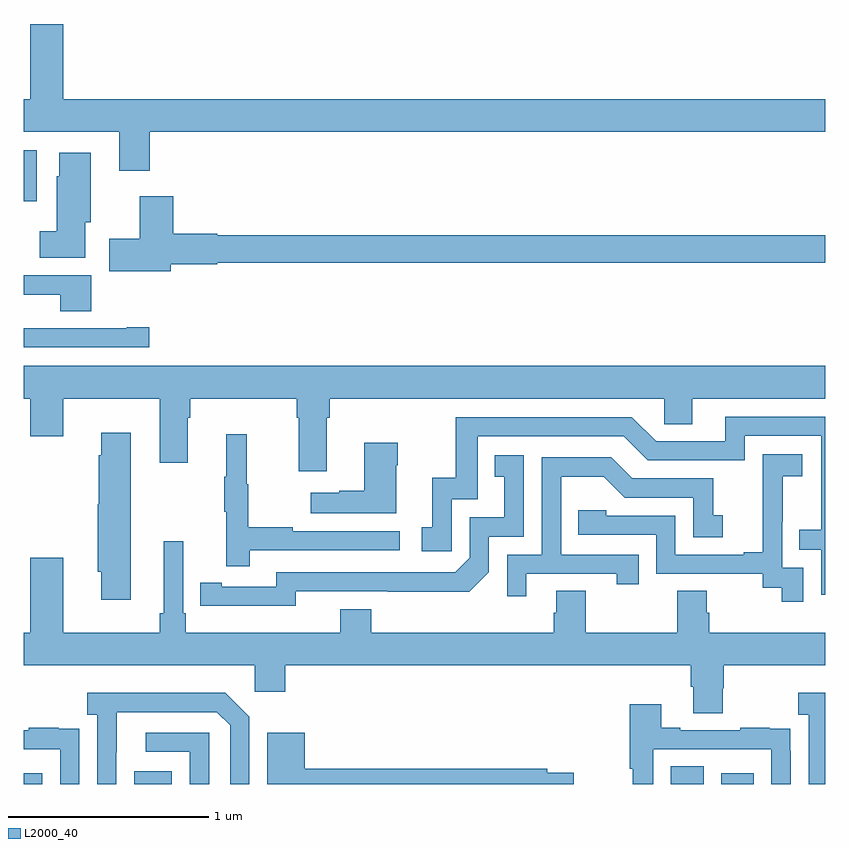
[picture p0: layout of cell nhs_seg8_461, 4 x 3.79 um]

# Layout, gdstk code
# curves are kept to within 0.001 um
import gdstk
lib = gdstk.Library(unit=1e-6, precision=1e-09)
def R(c, l, rs):  # rectangles x0, y0, x1, y1
    for r in rs: c.add(gdstk.rectangle(r[:2], r[2:], *l))
def P(c, l, *ps):  # polygons
    for p in ps: c.add(gdstk.Polygon(p, *l))
L2000_40 = (2000, 40)

nhs_seg8_461 = lib.new_cell('nhs_seg8_461')
R(nhs_seg8_461, L2000_40, [(141,1123.9,141.091,1123.954), (141.551,1123.9,141.739,1123.963), (144.23,1123.9,144.394,1123.988), (144.482,1123.9,144.643,1123.954), (141,1126.811,141.064,1127.065)])
P(nhs_seg8_461, L2000_40, [(141.629,1127.156),(145,1127.156),(145,1127.32),(141.196,1127.32),(141.196,1127.695),(141.032,1127.695),(141.032,1127.32),(141,1127.32),(141,1127.156),(141.476,1127.156),(141.476,1126.962),(141.629,1126.962)],
  [(141.307,1126.704),(141.334,1126.704),(141.334,1127.053),(141.176,1127.053),(141.176,1126.935),(141.164,1126.935),(141.164,1126.66),(141.08,1126.66),(141.08,1126.529),(141.307,1126.529)],
  [(141.733,1126.496),(141.966,1126.496),(141.966,1126.504),(145,1126.504),(145,1126.64),(141.966,1126.64),(141.966,1126.648),(141.746,1126.648),(141.746,1126.834),(141.578,1126.834),(141.578,1126.623),(141.426,1126.623),(141.426,1126.46),(141.733,1126.46)],
  [(141.335,1126.44),(141,1126.44),(141,1126.344),(141.182,1126.344),(141.182,1126.261),(141.335,1126.261)],
  [(141.625,1126.181),(141.512,1126.181),(141.512,1126.176),(141,1126.176),(141,1126.08),(141.625,1126.08)],
  [(142.513,1125.728),(142.526,1125.728),(142.526,1125.824),(144.198,1125.824),(144.198,1125.697),(144.337,1125.697),(144.337,1125.824),(145,1125.824),(145,1125.988),(141,1125.988),(141,1125.824),(141.032,1125.824),(141.032,1125.636),(141.196,1125.636),(141.196,1125.824),(141.677,1125.824),(141.677,1125.504),(141.817,1125.504),(141.817,1125.728),(141.83,1125.728),(141.83,1125.824),(142.361,1125.824),(142.361,1125.728),(142.373,1125.728),(142.373,1125.462),(142.513,1125.462)],
  [(145,1125.735),(144.503,1125.735),(144.503,1125.612),(144.156,1125.612),(144.036,1125.732),(143.157,1125.732),(143.157,1125.43),(143.039,1125.43),(143.039,1125.183),(142.986,1125.183),(142.986,1125.063),(143.136,1125.063),(143.136,1125.321),(143.265,1125.321),(143.265,1125.636),(143.994,1125.636),(144.114,1125.516),(144.6,1125.516),(144.6,1125.639),(144.981,1125.639),(144.981,1125.17),(144.871,1125.17),(144.871,1125.069),(144.981,1125.069),(144.981,1124.844),(145,1124.844)],
  [(141.532,1125.655),(141.386,1125.655),(141.386,1125.542),(141.374,1125.542),(141.374,1125.297),(141.368,1125.297),(141.368,1124.961),(141.386,1124.961),(141.386,1124.82),(141.532,1124.82)],
  [(142.127,1125.066),(142.876,1125.066),(142.876,1125.162),(142.343,1125.162),(142.343,1125.182),(142.12,1125.182),(142.12,1125.396),(142.112,1125.396),(142.112,1125.646),(142.01,1125.646),(142.01,1125.433),(141.999,1125.433),(141.999,1125.259),(142.01,1125.259),(142.01,1124.988),(142.127,1124.988)],
  [(142.858,1125.491),(142.866,1125.491),(142.866,1125.604),(142.7,1125.604),(142.7,1125.365),(142.574,1125.365),(142.574,1125.355),(142.431,1125.355),(142.431,1125.251),(142.858,1125.251)],
  [(144.891,1124.979),(144.786,1124.979),(144.786,1125.209),(144.788,1125.209),(144.788,1125.437),(144.886,1125.437),(144.886,1125.547),(144.688,1125.547),(144.688,1125.341),(144.689,1125.341),(144.689,1125.058),(144.593,1125.058),(144.593,1125.045),(144.252,1125.045),(144.252,1125.24),(143.907,1125.24),(143.907,1125.267),(143.767,1125.267),(143.767,1125.144),(144.156,1125.144),(144.156,1124.949),(144.69,1124.949),(144.69,1124.881),(144.783,1124.881),(144.783,1124.811),(144.891,1124.811)],
  [(142.356,1124.862),(143.224,1124.861),(143.322,1124.958),(143.322,1125.135),(143.496,1125.135),(143.496,1125.541),(143.35,1125.541),(143.35,1125.435),(143.399,1125.435),(143.399,1125.231),(143.226,1125.231),(143.226,1125.03),(143.154,1124.958),(142.26,1124.958),(142.26,1124.886),(141.988,1124.886),(141.988,1124.906),(141.88,1124.906),(141.88,1124.79),(142.356,1124.789)],
  [(143.509,1124.949),(143.96,1124.949),(143.96,1124.898),(144.071,1124.898),(144.071,1125.045),(143.682,1125.045),(143.682,1125.434),(143.896,1125.434),(144,1125.33),(144.342,1125.33),(144.342,1125.132),(144.49,1125.132),(144.49,1125.241),(144.441,1125.241),(144.441,1125.426),(144.037,1125.426),(143.932,1125.531),(143.586,1125.531),(143.586,1125.045),(143.412,1125.045),(143.412,1124.838),(143.509,1124.838)],
  [(144.489,1124.379),(144.494,1124.379),(144.494,1124.492),(145,1124.492),(145,1124.656),(144.422,1124.656),(144.422,1124.754),(144.409,1124.754),(144.409,1124.864),(144.262,1124.864),(144.262,1124.656),(143.805,1124.656),(143.805,1124.864),(143.657,1124.864),(143.657,1124.754),(143.645,1124.754),(143.645,1124.656),(142.733,1124.656),(142.733,1124.773),(142.58,1124.773),(142.58,1124.656),(141.809,1124.656),(141.809,1124.752),(141.795,1124.752),(141.795,1125.112),(141.698,1125.112),(141.698,1124.752),(141.679,1124.752),(141.679,1124.656),(141.196,1124.656),(141.196,1125.031),(141.032,1125.031),(141.032,1124.656),(141,1124.656),(141,1124.492),(142.152,1124.492),(142.152,1124.361),(142.304,1124.361),(142.304,1124.492),(144.329,1124.492),(144.329,1124.386),(144.341,1124.386),(144.341,1124.254),(144.489,1124.254)],
  [(141.462,1124.059),(141.463,1124.259),(141.963,1124.259),(142.029,1124.193),(142.029,1123.9),(142.125,1123.9),(142.125,1124.235),(142.004,1124.356),(141.315,1124.356),(141.315,1124.246),(141.366,1124.246),(141.366,1123.9),(141.462,1123.9)],
  [(145,1124.356),(144.867,1124.356),(144.867,1124.246),(144.918,1124.246),(144.918,1123.9),(145,1123.9)],
  [(144.141,1124.073),(144.732,1124.073),(144.732,1123.9),(144.828,1123.9),(144.828,1124.066),(144.827,1124.066),(144.827,1124.175),(144.725,1124.175),(144.725,1124.182),(144.577,1124.182),(144.577,1124.169),(144.277,1124.169),(144.277,1124.182),(144.181,1124.182),(144.181,1124.299),(144.025,1124.299),(144.025,1123.976),(144.04,1123.976),(144.04,1123.9),(144.141,1123.9)],
  [(141.276,1124.066),(141.275,1124.066),(141.275,1124.175),(141.173,1124.175),(141.173,1124.182),(141.025,1124.182),(141.025,1124.169),(141,1124.169),(141,1124.073),(141.18,1124.073),(141.18,1123.9),(141.276,1123.9)],
  [(141.924,1124.157),(141.609,1124.157),(141.609,1124.061),(141.828,1124.061),(141.828,1123.9),(141.924,1123.9)],
  [(143.746,1123.956),(143.612,1123.956),(143.612,1123.976),(142.401,1123.976),(142.401,1124.155),(142.214,1124.155),(142.214,1123.9),(143.746,1123.9)])

lib.write_gds('nhs_seg8_461.gds')
